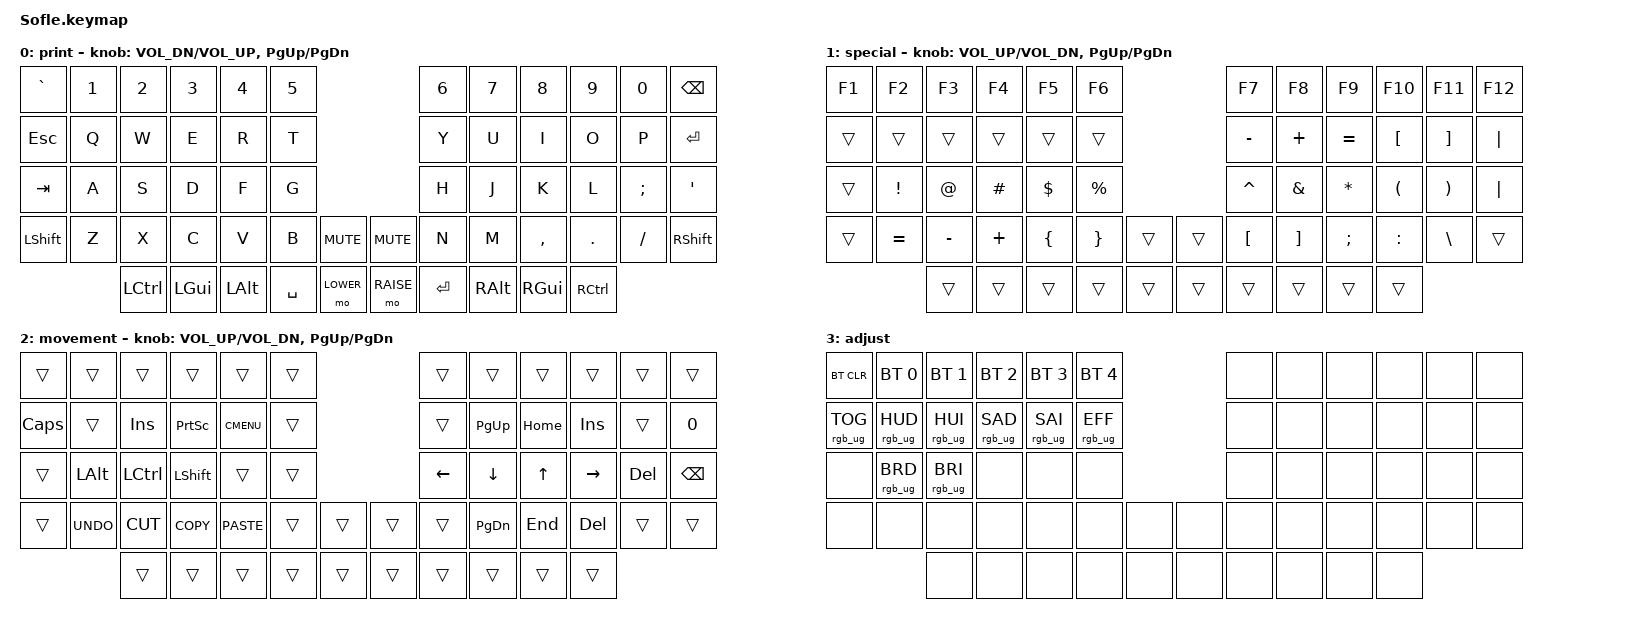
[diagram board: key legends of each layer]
/*
 * Copyright (c) 2020 The ZMK Contributors
 *
 * SPDX-License-Identifier: MIT
 */

#include <behaviors.dtsi>
#include <dt-bindings/zmk/keys.h>
#include <dt-bindings/zmk/bt.h>
#include <dt-bindings/zmk/rgb.h>
#include <dt-bindings/zmk/ext_power.h>

#define BASE 0
#define LOWER 1
#define RAISE 2
#define ADJUST 3

/ {

   // Activate ADJUST layer by pressing raise and lower
    conditional_layers {
        compatible = "zmk,conditional-layers";
        adjust_layer {
            if-layers = <LOWER RAISE>;
            then-layer = <ADJUST>;
        };
    };

    keymap {
        compatible = "zmk,keymap";

        default_layer {
// ------------------------------------------------------------------------------------------------------------
// |   `   |  1  |  2  |  3   |  4   |  5   |                   |  6   |  7    |  8    |  9   |   0   | bckspc|
// |  ESC  |  Q  |  W  |  E   |  R   |  T   |                   |  Y   |  U    |  I    |  O   |   P   | return|
// |  TAB  |  A  |  S  |  D   |  F   |  G   |                   |  H   |  J    |  K    |  L   |   ;   |   '   |
// | SHIFT |  Z  |  X  |  C   |  V   |  B   |  MUTE  |  |       |  N   |  M    |  ,    |  .   |   /   | SHIFT |
//               | CTRL | WIN | ALT | Space |  Lower |  | Raise | RAISE| alt   | gui   |  ctrl|
            display-name = "print";
            bindings = <
&kp GRAVE &kp N1 &kp N2   &kp N3   &kp N4    &kp N5                                     &kp N6 &kp N7    &kp N8    &kp N9   &kp N0   &kp BSPC
&kp ESC   &kp Q  &kp W    &kp E    &kp R     &kp T                                      &kp Y  &kp U     &kp I     &kp O    &kp P    &kp RETURN
&kp TAB   &kp A  &kp S    &kp D    &kp F     &kp G                                      &kp H  &kp J     &kp K     &kp L    &kp SEMI &kp SQT
&kp LSHFT &kp Z  &kp X    &kp C    &kp V     &kp B      &kp C_MUTE	&kp C_MUTE      &kp N  &kp M     &kp COMMA &kp DOT  &kp FSLH &kp RSHFT
                 &kp LCTRL &kp LGUI &kp LALT &kp SPACE &mo LOWER            &mo RAISE &kp RETURN  &kp RALT  &kp RGUI &kp RCTRL
            >;

            sensor-bindings = <&inc_dec_kp C_VOL_DN C_VOL_UP &inc_dec_kp PG_UP PG_DN>;
        };

        lower_layer {
// TODO: Some binds are waiting for shifted keycode support.
// ------------------------------------------------------------------------------------------------------------
// |  F1   |  F2 |  F3 |  F4  |  F5  |  F6  |                   |  F7  |  F8   |  F9  |  F10  |  F11  |  F12  |
// |   `   |  1  |  2  |  3   |  4   |  5   |                   |  6   |  7    |  8    |  9   |   0   |  F12  |
// |       |  !  |  @  |  #   |  $   |  %   |                   |  ^   |  &    |  *    |  (   |   )   |   |   |
// |       |  =  |  -  |  +   |  {   |  }   |        |  |       |  [   |  ]    |  ;    |  :   |   \   |       |
//               |     |      |      |      |        |  |       |      |       |       |      |
            display-name = "special";
            bindings = <
&kp F1    &kp F2    &kp F3      &kp F4    &kp F5    &kp F6                    &kp F7   &kp F8    &kp F9    &kp F10   &kp F11 &kp F12
&trans    &trans    &trans    &trans    &trans    &trans                    &kp MINUS  &kp PLUS &kp EQUAL &kp LBKT &kp RBKT &kp PIPE
&trans    &kp EXCL  &kp AT    &kp HASH    &kp DLLR  &kp PRCNT                 &kp CARET &kp AMPS &kp ASTRK &kp LPAR  &kp RPAR  &kp PIPE
&trans    &kp EQUAL &kp MINUS &kp PLUS &kp LBRC  &kp RBRC   &trans &trans  &kp LBKT  &kp RBKT &kp SEMI  &kp COLON &kp BSLH  &trans
                    &trans    &trans      &trans    &trans     &trans &trans  &trans    &trans   &trans    &trans
            >;

            sensor-bindings = <&inc_dec_kp C_VOL_UP C_VOL_DN &inc_dec_kp PG_UP PG_DN>;
        };

        raise_layer {
// ------------------------------------------------------------------------------------------------------------
// | BTCLR | BT1  | BT2  |  BT3  |  BT4  |  BT5 |                |      |      |       |      |       |       |
// |       | INS  | PSCR | GUI   |       |      |                | PGUP |      |   ^   |      |       |       |
// |       | ALT  | CTRL | SHIFT |       | CAPS |                | PGDN |   <- |   v   |  ->  |  DEL  | BKSPC |
// |       | UNDO | CUT  | COPY  | PASTE |      |      |  |      |      |      |       |      |       |       |
//                |      |       |       |      |      |  |      |      |      |       |      |
            display-name = "movement";
            bindings = <
&trans     &trans       &trans       &trans       &trans       &trans                        &trans    &trans    &trans   &trans    &trans  &trans
&kp CLCK   &trans       &kp INS      &kp PSCRN    &kp K_CMENU  &trans                        &trans    &kp PG_UP &kp HOME &kp INS   &trans  &kp N0
&trans     &kp LALT     &kp LCTRL    &kp LSHFT    &trans       &trans                        &kp LEFT  &kp DOWN  &kp UP   &kp RIGHT &kp DEL &kp BSPC
&trans     &kp K_UNDO   &kp K_CUT    &kp K_COPY   &kp K_PASTE  &trans        &trans  &trans  &trans    &kp PG_DN &kp END  &kp DEL   &trans  &trans
                        &trans       &trans       &trans       &trans        &trans  &trans  &trans    &trans    &trans   &trans
            >;

            sensor-bindings = <&inc_dec_kp C_VOL_UP C_VOL_DN &inc_dec_kp PG_UP PG_DN>;
        };

        adjust_layer {
// ----------------------------------------------------------------------------------------------------------------------------
// | BTCLR  |  BT1    |  BT2    |   BT3   |   BT4   |   BT5   |                  |      |      |       |      |       |       |
// | EXTPWR | RGB_HUD | RGB_HUI | RGB_SAD | RGB_SAI | RGB_EFF |                  |      |      |       |      |       |       |
// |        | RGB_BRD | RGB_BRI |         |         |         |                  |      |      |       |      |       |       |
// |        |         |         |         |         |         | RGB_TOG | |      |      |      |       |      |       |       |
//                    |         |         |         |         |         | |      |      |      |       |      |
            display-name = "adjust";
            bindings = <
&bt BT_CLR        &bt BT_SEL 0    &bt BT_SEL 1    &bt BT_SEL 2    &bt BT_SEL 3    &bt BT_SEL 4                            &none &none &none &none &none &none
&rgb_ug RGB_TOG   &rgb_ug RGB_HUD &rgb_ug RGB_HUI &rgb_ug RGB_SAD &rgb_ug RGB_SAI &rgb_ug RGB_EFF                         &none &none &none &none &none &none
&none             &rgb_ug RGB_BRD &rgb_ug RGB_BRI &none           &none           &none                                   &none &none &none &none &none &none
&none             &none           &none           &none           &none           &none            &none &none  &none &none &none &none &none &none
                                  &none           &none           &none           &none            &none           &none  &none &none &none &none
            >;
        };
        extra1 {
            status = "reserved";
        };
        extra2 {
            status = "reserved";
        };
        extra3 {
            status = "reserved";
        };
        extra4 {
            status = "reserved";
        };

    };
};
